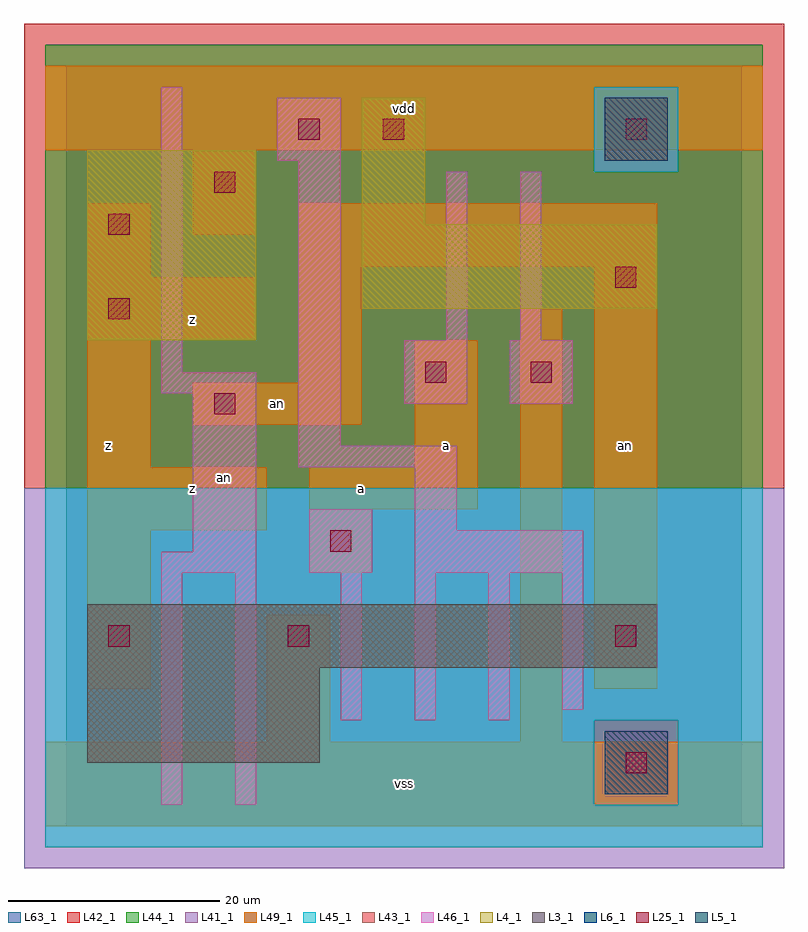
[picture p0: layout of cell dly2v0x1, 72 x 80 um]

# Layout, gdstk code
import gdstk
lib = gdstk.Library(unit=1e-6, precision=1e-09)
def R(c, l, rs):  # rectangles x0, y0, x1, y1
    for r in rs: c.add(gdstk.rectangle(r[:2], r[2:], *l))
def A(c, l, x, y, w, h, nx, ny, dx, dy):  # array of equal rectangles
    R(c, l, [(x+i*dx, y+j*dy, x+i*dx+w, y+j*dy+h) for i in range(nx) for j in range(ny)])
L3_1 = (3, 1)
L4_1 = (4, 1)
L5_1 = (5, 1)
L6_1 = (6, 1)
L25_1 = (25, 1)
L41_1 = (41, 1)
L42_1 = (42, 1)
L43_1 = (43, 1)
L44_1 = (44, 1)
L45_1 = (45, 1)
L46_1 = (46, 1)
L49_1 = (49, 1)
L63_1 = (63, 1)

dly2v0x1 = lib.new_cell('dly2v0x1')
R(dly2v0x1, L3_1, [(2,6,24,15), (2,15,56,21)])
R(dly2v0x1, L4_1, [(2,46,18,64), (28,49,56,57), (28,57,34,69)])
R(dly2v0x1, L5_1, [(51,63,57,69)])
R(dly2v0x1, L6_1, [(51,3,57,9), (51,3,57,9)])
R(dly2v0x1, L25_1, [(53,5,55,7), (4,17,6,19), (21,17,23,19), (52,17,54,19), (25,26,27,28), (14,39,16,41), (34,42,36,44), (44,42,46,44), (4,48,6,50), (52,51,54,53), (4,56,6,58), (14,60,16,62), (22,65,24,67), (30,65,32,67), (53,65,55,67)])
R(dly2v0x1, L41_1, [(-4,-4,68,32)])
R(dly2v0x1, L42_1, [(-4,32,68,76)])
R(dly2v0x1, L43_1, [(51,3,57,9), (2,6,24,15), (2,15,56,21), (2,46,18,64), (28,49,56,57), (28,57,34,69), (51,63,57,69)])
R(dly2v0x1, L44_1, [(50,2,58,10), (-2,32,66,62), (-2,62,50,70), (58,62,66,70), (-2,70,66,74)])
R(dly2v0x1, L45_1, [(-2,-2,66,2), (-2,2,50,10), (58,2,66,10), (-2,10,66,32), (50,62,58,70)])
A(dly2v0x1, L46_1, 26, 10, 2, 14, 3, 1, 7, 0)
R(dly2v0x1, L46_1, [(9,2,11,24), (16,2,18,24), (47,11,49,24), (9,24,18,26), (23,24,29,30), (33,24,49,28), (12,26,18,41), (33,28,37,34), (22,34,37,36), (22,36,26,63), (32,40,38,46), (42,40,48,46), (9,41,18,43), (9,43,11,70), (36,46,38,62), (43,46,45,62), (20,63,26,69)])
R(dly2v0x1, L49_1, [(-2,0,66,8), (19,8,25,20), (43,8,47,49), (2,13,8,28), (50,13,56,53), (23,24,29,30), (2,28,19,34), (23,30,39,34), (2,34,8,46), (33,34,39,46), (12,38,28,42), (22,42,28,53), (2,46,18,52), (2,52,8,59), (22,53,56,59), (12,56,18,64), (-2,64,66,72)])
R(dly2v0x1, L63_1, [(0,0,64,72)])
dly2v0x1.add(gdstk.Label('an', (15,33), layer=46, texttype=1))
dly2v0x1.add(gdstk.Label('z', (12,32), layer=49, texttype=1))
dly2v0x1.add(gdstk.Label('z', (4,36), layer=49, texttype=1))
dly2v0x1.add(gdstk.Label('z', (12,48), layer=49, texttype=1))
dly2v0x1.add(gdstk.Label('a', (28,32), layer=49, texttype=1))
dly2v0x1.add(gdstk.Label('an', (20,40), layer=49, texttype=1))
dly2v0x1.add(gdstk.Label('vss', (32,4), layer=49, texttype=1))
dly2v0x1.add(gdstk.Label('a', (36,36), layer=49, texttype=1))
dly2v0x1.add(gdstk.Label('vdd', (32,68), layer=49, texttype=1))
dly2v0x1.add(gdstk.Label('an', (53,36), layer=49, texttype=1))

lib.write_gds('dly2v0x1.gds')
